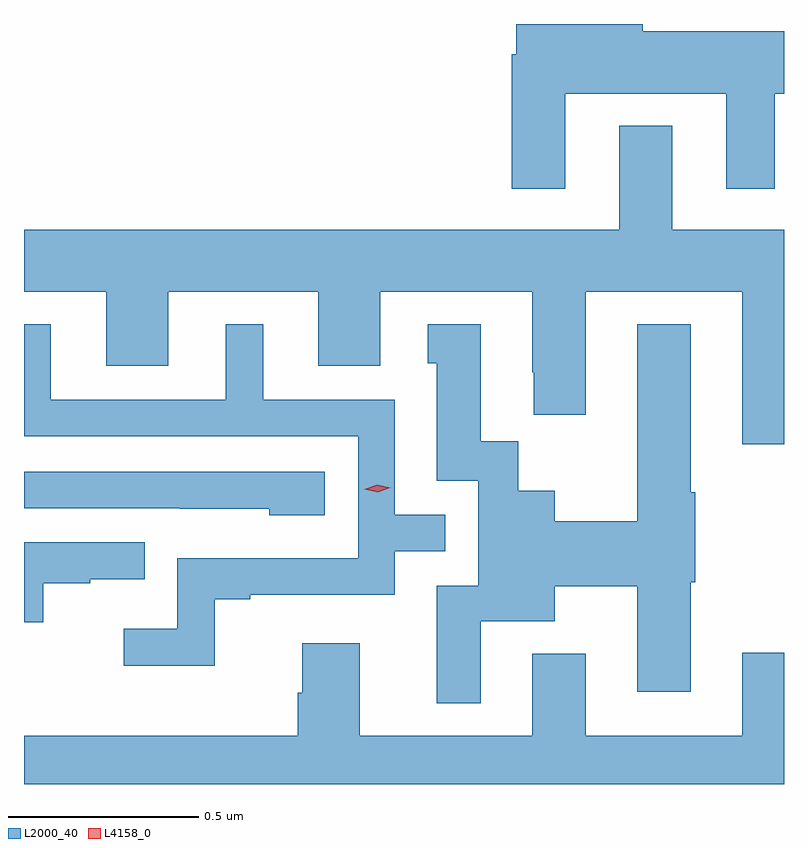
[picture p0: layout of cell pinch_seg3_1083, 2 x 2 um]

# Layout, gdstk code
import gdstk
lib = gdstk.Library(unit=1e-6, precision=1e-09)
def P(c, l, *ps):  # polygons
    for p in ps: c.add(gdstk.Polygon(p, *l))
L2000_40 = (2000, 40)
L4158_0 = (4158, 0)

pinch_seg3_1083 = lib.new_cell('pinch_seg3_1083')
P(pinch_seg3_1083, L2000_40, [(254.995,709.43),(255.419,709.43),(255.419,709.179),(255.547,709.179),(255.547,709.43),(255.571,709.43),(255.571,709.594),(255.199,709.594),(255.199,709.613),(254.867,709.613),(254.867,709.534),(254.855,709.534),(254.855,709.179),(254.995,709.179)],
  [(255.571,709.072),(255.277,709.072),(255.277,709.345),(255.137,709.345),(255.137,709.072),(253.571,709.072),(253.571,708.908),(253.787,708.908),(253.787,708.714),(253.951,708.714),(253.951,708.908),(254.345,708.908),(254.345,708.714),(254.509,708.714),(254.509,708.908),(254.909,708.908),(254.909,708.697),(254.912,708.697),(254.912,708.585),(255.049,708.585),(255.049,708.908),(255.461,708.908),(255.461,708.507),(255.571,708.507)],
  [(254.773,708.041),(254.968,708.041),(254.968,708.133),(255.185,708.133),(255.185,707.856),(255.325,707.856),(255.325,708.144),(255.338,708.144),(255.338,708.381),(255.325,708.381),(255.325,708.823),(255.185,708.823),(255.185,708.305),(254.968,708.305),(254.968,708.385),(254.871,708.385),(254.871,708.515),(254.773,708.515),(254.773,708.823),(254.633,708.823),(254.633,708.72),(254.657,708.72),(254.657,708.411),(254.766,708.411),(254.766,708.135),(254.657,708.135),(254.657,707.826),(254.773,707.826)],
  [(254.073,708.099),(254.167,708.099),(254.167,708.111),(254.547,708.111),(254.547,708.225),(254.68,708.225),(254.68,708.321),(254.547,708.321),(254.547,708.624),(254.2,708.624),(254.2,708.823),(254.102,708.823),(254.102,708.624),(253.642,708.624),(253.642,708.823),(253.571,708.823),(253.571,708.528),(254.451,708.528),(254.451,708.207),(253.974,708.207),(253.974,708.022),(253.833,708.022),(253.833,707.924),(254.073,707.924)],
  [(254.362,708.435),(253.571,708.435),(253.571,708.339),(253.981,708.339),(253.981,708.338),(254.217,708.338),(254.217,708.32),(254.362,708.32)],
  [(253.622,708.141),(253.745,708.141),(253.745,708.152),(253.889,708.152),(253.889,708.249),(253.571,708.249),(253.571,708.039),(253.622,708.039)],
  [(255.571,707.959),(255.461,707.959),(255.461,707.74),(255.049,707.74),(255.049,707.956),(254.909,707.956),(254.909,707.74),(254.455,707.74),(254.455,707.983),(254.303,707.983),(254.303,707.853),(254.291,707.853),(254.291,707.74),(253.571,707.74),(253.571,707.613),(255.571,707.613)])
P(pinch_seg3_1083, L4158_0, [(254.502,708.381),(254.467,708.389),(254.466,708.389),(254.467,708.389),(254.5,708.401),(254.535,708.393),(254.536,708.393),(254.535,708.392)])

lib.write_gds('pinch_seg3_1083.gds')
